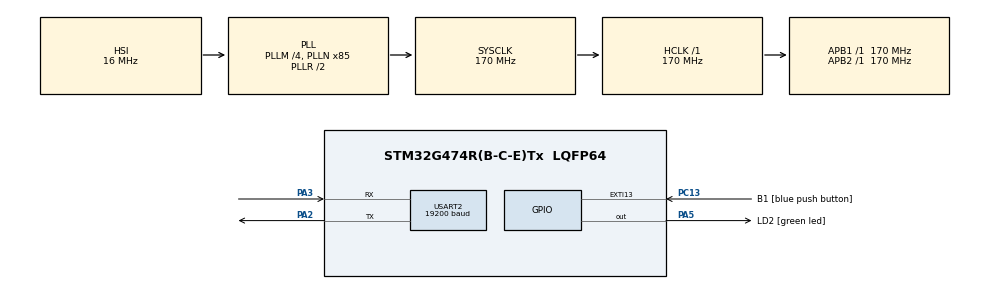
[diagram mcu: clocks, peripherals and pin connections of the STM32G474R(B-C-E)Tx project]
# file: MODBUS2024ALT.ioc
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Dma.Request0=USART2_TX
Dma.Request1=USART2_RX
Dma.USART2_RX.1.Direction=DMA_PERIPH_TO_MEMORY
Dma.USART2_RX.1.EventEnable=DISABLE
Dma.USART2_RX.1.Instance=DMA1_Channel2
Dma.USART2_RX.1.MemDataAlignment=DMA_MDATAALIGN_BYTE
Dma.USART2_RX.1.MemInc=DMA_MINC_ENABLE
Dma.USART2_RX.1.Mode=DMA_NORMAL
Dma.USART2_RX.1.PeriphDataAlignment=DMA_PDATAALIGN_BYTE
Dma.USART2_RX.1.PeriphInc=DMA_PINC_DISABLE
Dma.USART2_RX.1.Polarity=HAL_DMAMUX_REQ_GEN_RISING
Dma.USART2_RX.1.Priority=DMA_PRIORITY_LOW
Dma.USART2_RX.1.RequestNumber=1
Dma.USART2_RX.1.SignalID=NONE
Dma.USART2_RX.1.SyncEnable=DISABLE
Dma.USART2_RX.1.SyncPolarity=HAL_DMAMUX_SYNC_NO_EVENT
Dma.USART2_RX.1.SyncRequestNumber=1
Dma.USART2_RX.1.SyncSignalID=NONE
Dma.USART2_TX.0.Direction=DMA_MEMORY_TO_PERIPH
Dma.USART2_TX.0.EventEnable=DISABLE
Dma.USART2_TX.0.Instance=DMA1_Channel1
Dma.USART2_TX.0.MemDataAlignment=DMA_MDATAALIGN_BYTE
Dma.USART2_TX.0.MemInc=DMA_MINC_ENABLE
Dma.USART2_TX.0.Mode=DMA_NORMAL
Dma.USART2_TX.0.PeriphDataAlignment=DMA_PDATAALIGN_BYTE
Dma.USART2_TX.0.PeriphInc=DMA_PINC_DISABLE
Dma.USART2_TX.0.Polarity=HAL_DMAMUX_REQ_GEN_RISING
Dma.USART2_TX.0.Priority=DMA_PRIORITY_LOW
Dma.USART2_TX.0.RequestNumber=1
Dma.USART2_TX.0.SignalID=NONE
Dma.USART2_TX.0.SyncEnable=DISABLE
Dma.USART2_TX.0.SyncPolarity=HAL_DMAMUX_SYNC_NO_EVENT
Dma.USART2_TX.0.SyncRequestNumber=1
Dma.USART2_TX.0.SyncSignalID=NONE
Mcu.Family=STM32G4
Mcu.Name=STM32G474R(B-C-E)Tx
Mcu.Package=LQFP64
NVIC.DMA1_Channel1_IRQn=true\:0\:0\:false\:false\:true\:false\:true\:true
NVIC.DMA1_Channel2_IRQn=true\:0\:0\:false\:false\:true\:false\:true\:true
NVIC.EXTI15_10_IRQn=true\:0\:0\:false\:false\:true\:true\:true\:true
NVIC.PriorityGroup=NVIC_PRIORITYGROUP_4
NVIC.TIM1_UP_TIM16_IRQn=true\:0\:0\:false\:false\:true\:true\:true\:true
NVIC.TIM5_IRQn=true\:0\:0\:false\:false\:true\:true\:true\:true
NVIC.USART2_IRQn=true\:0\:0\:false\:false\:true\:true\:true\:true
PA13.GPIO_Label=T_SWDIO
PA13.Mode=Serial_Wire
PA13.Signal=SYS_JTMS-SWDIO
PA14.GPIO_Label=T_SWCLK
PA14.Mode=Serial_Wire
PA14.Signal=SYS_JTCK-SWCLK
PA2.Mode=Asynchronous
PA2.Signal=USART2_TX
PA3.Mode=Asynchronous
PA3.Signal=USART2_RX
PA5.GPIO_Label=LD2 [green led]
PA5.Signal=GPIO_Output
PB3.GPIO_Label=T_SWO
PB3.Signal=SYS_JTDO-SWO
PC13.GPIO_Label=B1 [blue push button]
PC13.Signal=GPXTI13
PC14-OSC32_IN.Mode=LSE-External-Oscillator
PC14-OSC32_IN.Signal=RCC_OSC32_IN
PC15-OSC32_OUT.Mode=LSE-External-Oscillator
PC15-OSC32_OUT.Signal=RCC_OSC32_OUT
PF0-OSC_IN.Mode=HSE-External-Oscillator
PF0-OSC_IN.Signal=RCC_OSC_IN
PF1-OSC_OUT.Mode=HSE-External-Oscillator
PF1-OSC_OUT.Signal=RCC_OSC_OUT
ProjectManager.HeapSize=0x200
ProjectManager.StackSize=0x400
ProjectManager.TargetToolchain=STM32CubeIDE
RCC.ADC12Freq_Value=170000000
RCC.ADC345Freq_Value=170000000
RCC.AHBFreq_Value=170000000
RCC.APB1Freq_Value=170000000
RCC.APB1TimFreq_Value=170000000
RCC.APB2Freq_Value=170000000
RCC.APB2TimFreq_Value=170000000
RCC.CortexFreq_Value=170000000
RCC.EXTERNAL_CLOCK_VALUE=12288000
RCC.HCLKFreq_Value=170000000
RCC.HSE_VALUE=24000000
RCC.HSI48_VALUE=48000000
RCC.HSI_VALUE=16000000
RCC.PLLM=RCC_PLLM_DIV4
RCC.PLLN=85
RCC.RTCClockSelection=RCC_RTCCLKSOURCE_LSE
RCC.SYSCLKFreq_VALUE=170000000
RCC.SYSCLKSource=RCC_SYSCLKSOURCE_PLLCLK
RCC.USBFreq_Value=170000000
RCC.VCOOutputFreq_Value=340000000
TIM16.PeriodNoDither=1145
TIM16.Prescaler=169
TIM5.PeriodNoDither=1999
TIM5.Prescaler=16999
USART2.BaudRate=19200
USART2.OneBitSampling=UART_ONE_BIT_SAMPLE_DISABLE
USART2.Parity=PARITY_EVEN
USART2.VirtualMode-Asynchronous=VM_ASYNC
USART2.WordLength=WORDLENGTH_9B
VP_SYS_VS_DBSignals.Mode=DisableDeadBatterySignals
VP_TIM16_VS_ClockSourceINT.Mode=Enable_Timer
VP_TIM16_VS_OPM.Mode=OPM_bit
VP_TIM5_VS_ClockSourceINT.Mode=Internal
board=NUCLEO-G474RE

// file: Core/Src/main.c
/* USER CODE BEGIN Header */
/**
  ******************************************************************************
  * @file           : main.c
  * @brief          : Main program body
  ******************************************************************************
  * @attention
  *
  * Copyright (c) 2024 STMicroelectronics.
  * All rights reserved.
  *
  * This software is licensed under terms that can be found in the LICENSE file
  * in the root directory of this software component.
  * If no LICENSE file comes with this software, it is provided AS-IS.
  *
  ******************************************************************************
  */
/* USER CODE END Header */
#include "main.h"

/* USER CODE BEGIN Includes */
#include "ModBusRTU.h"
/* USER CODE END Includes */

TIM_HandleTypeDef htim5;
TIM_HandleTypeDef htim16;

UART_HandleTypeDef huart2;
DMA_HandleTypeDef hdma_usart2_tx;
DMA_HandleTypeDef hdma_usart2_rx;

/* USER CODE BEGIN PV */
ModbusHandleTypedef hmodbus;

uint8_t vacuum;
uint8_t gripper;
uint8_t reed;

u16u8_t registerFrame[200]; //middle between base n z axis (they will see the same.)
uint16_t shelfPos[5];
uint16_t piingpong;
uint16_t setPos;

uint16_t temPick; // temporary shelves order
uint16_t temPlace;
uint16_t pick[5]; // shelves order array
uint16_t place[5];
uint8_t round; // jog counter

/* USER CODE END PV */

void SystemClock_Config(void);
static void MX_GPIO_Init(void);
static void MX_DMA_Init(void);
static void MX_USART2_UART_Init(void);
static void MX_TIM16_Init(void);
static void MX_TIM5_Init(void);

int main(void)
{

  /* MCU Configuration--------------------------------------------------------*/

  /* Reset of all peripherals, Initializes the Flash interface and the Systick. */
  HAL_Init();

  /* Configure the system clock */
  SystemClock_Config();

  /* Initialize all configured peripherals */
  MX_GPIO_Init();
  MX_DMA_Init();
  MX_USART2_UART_Init();
  MX_TIM16_Init();
  MX_TIM5_Init();

  /* USER CODE BEGIN 2 */
  HAL_TIM_Base_Start_IT(&htim5); //open Timer 5 (interrupt)
  hmodbus.huart = &huart2;
  hmodbus.htim = &htim16;
  hmodbus.slaveAddress = 0x15;
  hmodbus.RegisterSize =200;
  Modbus_init(&hmodbus, registerFrame);
  reed = 0;

  shelfPos[0] = 1;
  shelfPos[1] = 2;
  shelfPos[2] = 3;
  shelfPos[3] = 4;
  shelfPos[4] = 5;
  /* USER CODE END 2 */

  /* Infinite loop */
  while (1)
  {

    /* USER CODE BEGIN 3 */
	  Modbus_Protocal_Worker();

	  vacuum = registerFrame[0x02].U16;
	  gripper = registerFrame[0x03].U16;
	  registerFrame[0x04].U16 = reed;

	  static uint16_t timestamp = 0;
	  //Set shelves
	  if(registerFrame[0x01].U16 == 1)
	  {
		  registerFrame[0x01].U16 = 0;
		  registerFrame[0x10].U16 = 1;
		  registerFrame[0x23].U16 = shelfPos[0];
		  registerFrame[0x24].U16 = shelfPos[1];
		  registerFrame[0x25].U16 = shelfPos[2];
		  registerFrame[0x26].U16 = shelfPos[3];
		  registerFrame[0x27].U16 = shelfPos[4];
		  //delay 2000ms
		  timestamp = HAL_GetTick()+2000;
	  }
	  if(HAL_GetTick() >= timestamp && (registerFrame[0x10].U16 == 1))
	  {
		  registerFrame[0x10].U16 = 0;
	  }
	  //Home
	  if(registerFrame[0x01].U16 == 2)
	  {
		  registerFrame[0x01].U16 = 0;
		  registerFrame[0x10].U16 = 2;
		  setPos =  shelfPos[0];
	  }
	  //point mode
	  if(registerFrame[0x01].U16 == 8)
	  {
		  registerFrame[0x01].U16 = 0;
		  registerFrame[0x10].U16 = 16;
		  setPos =  registerFrame[0x30].U16;
	  }
	  //reset
	  if(piingpong == 1 && (registerFrame[0x10].U16 == 2 || registerFrame[0x10].U16 == 16) )//check piingpong status
	  {
		  registerFrame[0x10].U16 = 0;
	  }
	  //jog mode
	  if((registerFrame[0x01].U16 == 4))
	  {
		  registerFrame[0x01].U16 = 0; //reset status

	      temPick = (registerFrame[0x21].U16);
	      temPlace = (registerFrame[0x22].U16);
	      round = 0;
	      ////// Convert to string
	      for(uint16_t i = 10000;i>=1;i/=10)
	      {
	    	  if(temPick/i == 0 || temPick/i > 5 || temPlace/i == 0 || temPlace/i > 5) // check if 0 or > 5
	    	  {
	    		  round = 0;
	    		  break;
	    	  }
	    	  pick[round] = temPick/i; // use this for pick
	    	  place[round] = temPlace/i; // use this for place
	    	  temPick = temPick%i;
	    	  temPlace = temPlace%i;
	    	  round++;
	      }
	  }
	  else if(round > 0) //  run Jog
	  	{
	  		if(registerFrame[0x10].U16 == 0 && round == 5 && gripper == 0 && reed == 1 && vacuum == 0) // first rev
	  		{
	  			(registerFrame[0x10].U16) = 4; // Z-go pick
	  			setPos = shelfPos[pick[5-round]-1];
	  		}
	  		if((piingpong && registerFrame[0x10].U16 == 8)) // prev mode: place, do pick
	  		{
	  			///////place down

	  			if(reed != 2){
	  				registerFrame[0x03].U16 = 1; // gripper forward
	  			}
	  			else //reached
	  			{
	  				registerFrame[0x02].U16 = 0; //vacuum off
	  					//Delay a few sec
	  				registerFrame[0x03].U16 = 0; //gripper backward
	  			}
	  			///////finish place -> move on
	  			if(gripper == 0 && reed == 1 && vacuum == 0)
	  			{
	  				round--;
	  				if(round>0)
	  				{
	  					(registerFrame[0x10].U16) = 4; // Z-go pick
	  					setPos = shelfPos[pick[5-round]-1];
	  				}
	  				else
	  				{
	  					(registerFrame[0x10].U16 = 0); // End Jogs
	  				}
	  			}
	  			//MoveTosetPos();
	  		}
	  		else if(piingpong && registerFrame[0x10].U16 == 4)// prev mode: pick, do place
	  		{
	  			//////pick up
	  			if(reed != 2)
	  			{
	  				registerFrame[0x03].U16 = 1; //gripper forward
	  			}
	  			else
	  			{
	  				registerFrame[0x02].U16 = 1; //vacuum on
	  				// Delay a few sec
	  				registerFrame[0x03].U16 = 0; //gripper backward
	  			}
	  			///////finish pick -> move on
	  			if(gripper == 0 && reed == 1 && vacuum == 1)
	  			{
	  				(registerFrame[0x10].U16) = 8; // Z-go place
	  				setPos = shelfPos[place[5-round]-1];
	  			}
	  		}

	  	}

	  	else if(piingpong && (registerFrame[0x10].U16 == 2 || registerFrame[0x10].U16 == 16))
	  	{
	  		//finish point & home mode
	  		registerFrame[0x10].U16 = 0;
	  	}

	  }
  /* USER CODE END 3 */
}

void SystemClock_Config(void)
{
  RCC_OscInitTypeDef RCC_OscInitStruct = {0};
  RCC_ClkInitTypeDef RCC_ClkInitStruct = {0};

  /** Configure the main internal regulator output voltage
  */
  HAL_PWREx_ControlVoltageScaling(PWR_REGULATOR_VOLTAGE_SCALE1_BOOST);

  /** Initializes the RCC Oscillators according to the specified parameters
  * in the RCC_OscInitTypeDef structure.
  */
  RCC_OscInitStruct.OscillatorType = RCC_OSCILLATORTYPE_HSI;
  RCC_OscInitStruct.HSIState = RCC_HSI_ON;
  RCC_OscInitStruct.HSICalibrationValue = RCC_HSICALIBRATION_DEFAULT;
  RCC_OscInitStruct.PLL.PLLState = RCC_PLL_ON;
  RCC_OscInitStruct.PLL.PLLSource = RCC_PLLSOURCE_HSI;
  RCC_OscInitStruct.PLL.PLLM = RCC_PLLM_DIV4;
  RCC_OscInitStruct.PLL.PLLN = 85;
  RCC_OscInitStruct.PLL.PLLP = RCC_PLLP_DIV2;
  RCC_OscInitStruct.PLL.PLLQ = RCC_PLLQ_DIV2;
  RCC_OscInitStruct.PLL.PLLR = RCC_PLLR_DIV2;
  if (HAL_RCC_OscConfig(&RCC_OscInitStruct) != HAL_OK)
  {
    Error_Handler();
  }

  /** Initializes the CPU, AHB and APB buses clocks
  */
  RCC_ClkInitStruct.ClockType = RCC_CLOCKTYPE_HCLK|RCC_CLOCKTYPE_SYSCLK
                              |RCC_CLOCKTYPE_PCLK1|RCC_CLOCKTYPE_PCLK2;
  RCC_ClkInitStruct.SYSCLKSource = RCC_SYSCLKSOURCE_PLLCLK;
  RCC_ClkInitStruct.AHBCLKDivider = RCC_SYSCLK_DIV1;
  RCC_ClkInitStruct.APB1CLKDivider = RCC_HCLK_DIV1;
  RCC_ClkInitStruct.APB2CLKDivider = RCC_HCLK_DIV1;

  if (HAL_RCC_ClockConfig(&RCC_ClkInitStruct, FLASH_LATENCY_4) != HAL_OK)
  {
    Error_Handler();
  }
}

static void MX_TIM5_Init(void)
{

  TIM_ClockConfigTypeDef sClockSourceConfig = {0};
  TIM_MasterConfigTypeDef sMasterConfig = {0};

  htim5.Instance = TIM5;
  htim5.Init.Prescaler = 16999;
  htim5.Init.CounterMode = TIM_COUNTERMODE_UP;
  htim5.Init.Period = 1999;
  htim5.Init.ClockDivision = TIM_CLOCKDIVISION_DIV1;
  htim5.Init.AutoReloadPreload = TIM_AUTORELOAD_PRELOAD_DISABLE;
  if (HAL_TIM_Base_Init(&htim5) != HAL_OK)
  {
    Error_Handler();
  }
  sClockSourceConfig.ClockSource = TIM_CLOCKSOURCE_INTERNAL;
  if (HAL_TIM_ConfigClockSource(&htim5, &sClockSourceConfig) != HAL_OK)
  {
    Error_Handler();
  }
  sMasterConfig.MasterOutputTrigger = TIM_TRGO_RESET;
  sMasterConfig.MasterSlaveMode = TIM_MASTERSLAVEMODE_DISABLE;
  if (HAL_TIMEx_MasterConfigSynchronization(&htim5, &sMasterConfig) != HAL_OK)
  {
    Error_Handler();
  }

}

static void MX_TIM16_Init(void)
{

  htim16.Instance = TIM16;
  htim16.Init.Prescaler = 169;
  htim16.Init.CounterMode = TIM_COUNTERMODE_UP;
  htim16.Init.Period = 1145;
  htim16.Init.ClockDivision = TIM_CLOCKDIVISION_DIV1;
  htim16.Init.RepetitionCounter = 0;
  htim16.Init.AutoReloadPreload = TIM_AUTORELOAD_PRELOAD_DISABLE;
  if (HAL_TIM_Base_Init(&htim16) != HAL_OK)
  {
    Error_Handler();
  }
  if (HAL_TIM_OnePulse_Init(&htim16, TIM_OPMODE_SINGLE) != HAL_OK)
  {
    Error_Handler();
  }

}

static void MX_USART2_UART_Init(void)
{

  huart2.Instance = USART2;
  huart2.Init.BaudRate = 19200;
  huart2.Init.WordLength = UART_WORDLENGTH_9B;
  huart2.Init.StopBits = UART_STOPBITS_1;
  huart2.Init.Parity = UART_PARITY_EVEN;
  huart2.Init.Mode = UART_MODE_TX_RX;
  huart2.Init.HwFlowCtl = UART_HWCONTROL_NONE;
  huart2.Init.OverSampling = UART_OVERSAMPLING_16;
  huart2.Init.OneBitSampling = UART_ONE_BIT_SAMPLE_DISABLE;
  huart2.Init.ClockPrescaler = UART_PRESCALER_DIV1;
  huart2.AdvancedInit.AdvFeatureInit = UART_ADVFEATURE_NO_INIT;
  if (HAL_UART_Init(&huart2) != HAL_OK)
  {
    Error_Handler();
  }
  if (HAL_UARTEx_SetTxFifoThreshold(&huart2, UART_TXFIFO_THRESHOLD_1_8) != HAL_OK)
  {
    Error_Handler();
  }
  if (HAL_UARTEx_SetRxFifoThreshold(&huart2, UART_RXFIFO_THRESHOLD_1_8) != HAL_OK)
  {
    Error_Handler();
  }
  if (HAL_UARTEx_DisableFifoMode(&huart2) != HAL_OK)
  {
    Error_Handler();
  }

}

static void MX_DMA_Init(void)
{

  /* DMA controller clock enable */
  __HAL_RCC_DMAMUX1_CLK_ENABLE();
  __HAL_RCC_DMA1_CLK_ENABLE();

  /* DMA interrupt init */
  /* DMA1_Channel1_IRQn interrupt configuration */
  HAL_NVIC_SetPriority(DMA1_Channel1_IRQn, 0, 0);
  HAL_NVIC_EnableIRQ(DMA1_Channel1_IRQn);
  /* DMA1_Channel2_IRQn interrupt configuration */
  HAL_NVIC_SetPriority(DMA1_Channel2_IRQn, 0, 0);
  HAL_NVIC_EnableIRQ(DMA1_Channel2_IRQn);

}

static void MX_GPIO_Init(void)
{
  GPIO_InitTypeDef GPIO_InitStruct = {0};

  /* GPIO Ports Clock Enable */
  __HAL_RCC_GPIOC_CLK_ENABLE();
  __HAL_RCC_GPIOF_CLK_ENABLE();
  __HAL_RCC_GPIOA_CLK_ENABLE();
  __HAL_RCC_GPIOB_CLK_ENABLE();

  /*Configure GPIO pin Output Level */
  HAL_GPIO_WritePin(LD2_GPIO_Port, LD2_Pin, GPIO_PIN_RESET);

  /*Configure GPIO pin : B1_Pin */
  GPIO_InitStruct.Pin = B1_Pin;
  GPIO_InitStruct.Mode = GPIO_MODE_IT_RISING;
  GPIO_InitStruct.Pull = GPIO_NOPULL;
  HAL_GPIO_Init(B1_GPIO_Port, &GPIO_InitStruct);

  /*Configure GPIO pin : LD2_Pin */
  GPIO_InitStruct.Pin = LD2_Pin;
  GPIO_InitStruct.Mode = GPIO_MODE_OUTPUT_PP;
  GPIO_InitStruct.Pull = GPIO_NOPULL;
  GPIO_InitStruct.Speed = GPIO_SPEED_FREQ_LOW;
  HAL_GPIO_Init(LD2_GPIO_Port, &GPIO_InitStruct);

  /* EXTI interrupt init*/
  HAL_NVIC_SetPriority(EXTI15_10_IRQn, 0, 0);
  HAL_NVIC_EnableIRQ(EXTI15_10_IRQn);

}

/* USER CODE BEGIN 4 */
//Callback -> Timer finish
void HAL_TIM_PeriodElapsedCallback(TIM_HandleTypeDef *htim){
	if(htim == &htim5)
	{
		registerFrame[0x00].U16 = 22881; //send "Ya"
	}

}
/* USER CODE END 4 */

void Error_Handler(void)
{
  __disable_irq();
  while (1)
  {
  }
}
